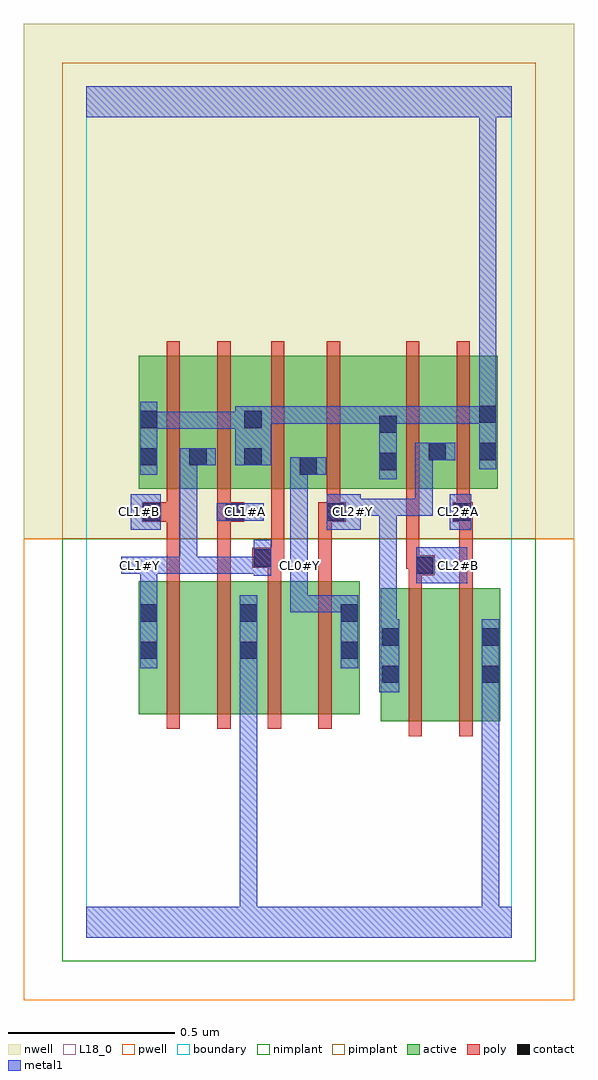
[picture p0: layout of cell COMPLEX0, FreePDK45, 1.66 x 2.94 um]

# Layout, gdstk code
import gdstk
lib = gdstk.Library(unit=1e-6, precision=1e-09)
def R(c, l, rs):  # rectangles x0, y0, x1, y1
    for r in rs: c.add(gdstk.rectangle(r[:2], r[2:], *l))
def A(c, l, x, y, w, h, nx, ny, dx, dy):  # array of equal rectangles
    R(c, l, [(x+i*dx, y+j*dy, x+i*dx+w, y+j*dy+h) for i in range(nx) for j in range(ny)])
active = (1, 0)
pwell = (2, 0)
nwell = (3, 0)
nimplant = (4, 0)
pimplant = (5, 0)
poly = (9, 0)
contact = (10, 0)
metal1 = (11, 0)
L18_0 = (18, 0)
boundary = (235, 0)

complex0 = lib.new_cell('COMPLEX0')
R(complex0, active, [(0.886,0.65,1.066,1.05), (1.066,0.65,1.246,1.05), (1.186,0.65,1.246,1.05), (0.158,0.672,0.338,1.072), (0.338,0.672,0.518,1.072), (0.458,0.672,0.642,1.072), (0.642,0.672,0.822,1.072), (0.158,0.756,0.218,1.072), (0.458,0.756,0.518,1.006), (0.762,0.756,0.822,1.072), (0.886,0.756,0.946,1.05), (0.158,1.35,0.218,1.644), (0.158,1.35,0.366,1.75), (0.306,1.35,0.532,1.75), (0.472,1.35,0.698,1.75), (0.638,1.35,0.938,1.75), (0.878,1.35,0.938,1.75), (0.878,1.35,1.086,1.75), (1.026,1.35,1.238,1.75), (1.178,1.35,1.238,1.75), (0.638,1.388,0.698,1.644), (0.306,1.416,0.366,1.644), (0.472,1.416,0.532,1.644), (1.026,1.432,1.086,1.644)])
R(complex0, pwell, [(-0.188,-0.188,1.468,1.2)])
R(complex0, nwell, [(-0.188,1.2,1.468,2.748)])
R(complex0, nimplant, [(-0.072,-0.072,1.352,1.2)])
R(complex0, pimplant, [(-0.072,1.2,1.352,2.632)])
A(complex0, poly, 0.242, 0.628, 0.04, 0.488, 4, 1, 0.152, 0)
R(complex0, poly, [(0.97,0.606,1.01,1.094), (1.122,0.606,1.162,1.094), (0.97,1.054,1.01,1.13), (1.122,1.054,1.162,1.29), (0.242,1.076,0.282,1.29), (0.394,1.076,0.434,1.29), (0.546,1.076,0.586,1.152), (0.698,1.076,0.738,1.29), (0.97,1.09,1.048,1.15), (0.962,1.11,1.002,1.346), (0.962,1.11,1.01,1.15), (0.97,1.11,1.01,1.15), (0.5,1.112,0.586,1.172), (0.546,1.132,0.586,1.172), (0.546,1.132,0.596,1.172), (0.556,1.132,0.596,1.346), (0.168,1.25,0.282,1.31), (0.242,1.25,0.282,1.29), (0.242,1.25,0.282,1.29), (0.394,1.25,0.434,1.29), (0.394,1.25,0.434,1.29), (0.394,1.25,0.476,1.31), (0.698,1.25,0.78,1.31), (1.102,1.25,1.162,1.31), (1.122,1.25,1.162,1.29), (1.122,1.25,1.162,1.29), (0.242,1.27,0.282,1.346), (0.394,1.27,0.434,1.346), (0.724,1.27,0.764,1.346), (0.724,1.27,0.764,1.31), (0.724,1.27,0.764,1.31), (1.114,1.27,1.154,1.346), (0.242,1.306,0.282,1.794), (0.394,1.306,0.434,1.794), (0.556,1.306,0.596,1.794), (0.724,1.306,0.764,1.794), (0.962,1.306,1.002,1.794), (1.114,1.306,1.154,1.794)])
R(complex0, contact, [(0.89,0.766,0.942,0.818), (1.19,0.766,1.242,0.818), (0.162,0.838,0.214,0.89), (0.462,0.838,0.514,0.89), (0.766,0.838,0.818,0.89), (0.89,0.878,0.942,0.93), (1.19,0.878,1.242,0.93), (0.162,0.95,0.214,1.002), (0.462,0.95,0.514,1.002), (0.766,0.95,0.818,1.002), (0.992,1.094,1.044,1.146), (0.504,1.116,0.556,1.168), (0.172,1.254,0.224,1.306), (0.42,1.254,0.472,1.306), (0.724,1.254,0.776,1.306), (1.106,1.254,1.158,1.306), (0.642,1.392,0.694,1.444), (0.882,1.406,0.934,1.458), (0.162,1.42,0.214,1.472), (0.31,1.42,0.362,1.472), (0.476,1.42,0.528,1.472), (1.03,1.436,1.082,1.488), (1.182,1.436,1.234,1.488), (0.882,1.518,0.934,1.57), (0.162,1.532,0.214,1.584), (0.476,1.532,0.528,1.584), (1.182,1.548,1.234,1.6)])
R(complex0, metal1, [(0,0,1.28,0.092), (0.462,0.04,0.514,0.092), (0.462,0.04,0.514,0.092), (0.462,0.04,0.514,0.092), (0.462,0.04,0.514,0.092), (0.462,0.04,0.514,0.092), (0.462,0.04,0.514,0.092), (0.462,0.04,0.514,0.092), (0.462,0.04,0.514,0.092), (0.462,0.04,0.514,0.862), (1.19,0.04,1.242,0.79), (0.882,0.738,0.942,0.958), (1.19,0.738,1.242,0.79), (1.19,0.738,1.242,0.79), (1.19,0.738,1.242,0.79), (1.19,0.738,1.242,0.79), (1.19,0.738,1.242,0.79), (1.19,0.738,1.242,0.79), (1.19,0.738,1.242,0.79), (1.19,0.738,1.242,0.79), (1.19,0.738,1.242,0.79), (1.19,0.738,1.242,0.79), (1.19,0.738,1.242,0.79), (1.19,0.738,1.242,0.79), (1.19,0.738,1.242,0.958), (0.162,0.81,0.214,1.03), (0.462,0.81,0.514,0.862), (0.462,0.81,0.514,0.862), (0.462,0.81,0.514,0.862), (0.462,0.81,0.514,0.862), (0.462,0.81,0.514,1.03), (0.766,0.81,0.818,1.03), (0.882,0.906,0.934,1.32), (0.162,0.978,0.214,1.146), (0.614,0.978,0.666,1.03), (0.614,0.978,0.666,1.03), (0.614,0.978,0.666,1.03), (0.614,0.978,0.818,1.03), (0.614,0.978,0.666,1.118), (0.614,1.066,0.666,1.174), (0.992,1.066,1.146,1.174), (0.504,1.088,0.556,1.196), (0.106,1.094,0.214,1.146), (0.162,1.094,0.214,1.146), (0.162,1.094,0.214,1.146), (0.162,1.094,0.334,1.146), (0.282,1.094,0.334,1.146), (0.282,1.094,0.334,1.146), (0.282,1.094,0.334,1.146), (0.282,1.094,0.334,1.146), (0.282,1.094,0.334,1.146), (0.282,1.094,0.556,1.146), (0.282,1.094,0.334,1.472), (0.504,1.094,0.556,1.146), (0.504,1.094,0.556,1.146), (0.614,1.122,0.666,1.444), (0.134,1.226,0.224,1.334), (0.724,1.226,0.826,1.334), (1.094,1.226,1.158,1.334), (0.392,1.254,0.534,1.306), (0.774,1.268,0.826,1.32), (0.774,1.268,0.826,1.32), (0.774,1.268,0.934,1.32), (0.882,1.268,0.934,1.32), (0.882,1.268,0.934,1.32), (0.882,1.268,0.934,1.32), (0.882,1.268,0.936,1.32), (0.884,1.268,0.936,1.32), (0.884,1.268,1.042,1.32), (0.99,1.268,1.042,1.32), (0.99,1.268,1.042,1.488), (0.882,1.378,0.934,1.598), (0.162,1.392,0.214,1.612), (0.614,1.392,0.666,1.444), (0.614,1.392,0.666,1.444), (0.614,1.392,0.722,1.444), (1.182,1.408,1.234,1.628), (0.282,1.42,0.39,1.472), (0.448,1.42,0.556,1.598), (0.99,1.436,1.11,1.488), (0.162,1.53,0.214,1.582), (0.162,1.53,0.214,1.582), (0.162,1.53,0.39,1.582), (0.338,1.53,0.39,1.582), (0.338,1.53,0.39,1.582), (0.338,1.53,0.39,1.582), (0.338,1.53,0.5,1.582), (0.504,1.546,0.556,1.598), (0.504,1.546,0.556,1.598), (0.504,1.546,0.666,1.598), (0.614,1.546,0.666,1.598), (0.614,1.546,0.824,1.598), (0.772,1.546,0.824,1.598), (0.772,1.546,0.824,1.598), (0.772,1.546,0.824,1.598), (0.772,1.546,0.934,1.598), (0.882,1.546,1.036,1.598), (0.984,1.546,1.036,1.598), (0.984,1.546,1.044,1.598), (0.992,1.546,1.044,1.598), (0.992,1.546,1.234,1.598), (1.182,1.546,1.234,1.598), (1.182,1.546,1.234,1.598), (1.182,1.576,1.234,1.628), (1.182,1.576,1.234,1.628), (1.182,1.576,1.234,1.628), (1.182,1.576,1.234,1.628), (1.182,1.576,1.234,2.52), (0,2.468,1.28,2.56), (1.182,2.468,1.234,2.52), (1.182,2.468,1.234,2.52), (1.182,2.468,1.234,2.52), (1.182,2.468,1.234,2.52), (1.182,2.468,1.234,2.52), (1.182,2.468,1.234,2.52), (1.182,2.468,1.234,2.52), (1.182,2.468,1.234,2.52), (1.182,2.468,1.234,2.52), (1.182,2.468,1.234,2.52), (1.182,2.468,1.234,2.52), (1.182,2.468,1.234,2.52)])
A(complex0, L18_0, 0.134, 1.254, 0.052, 0.052, 4, 1, 0.32, 0)
R(complex0, L18_0, [(0,0,1.28,0.092), (0.462,0.04,0.514,0.092), (0.462,0.04,0.514,0.092), (0.462,0.04,0.514,0.092), (0.462,0.04,0.514,0.092), (0.462,0.04,0.514,0.092), (0.462,0.04,0.514,0.092), (0.462,0.04,0.514,0.092), (0.462,0.04,0.514,0.092), (0.462,0.04,0.514,0.862), (1.19,0.04,1.242,0.79), (0.882,0.738,0.942,0.958), (1.19,0.738,1.242,0.958), (1.19,0.738,1.242,0.79), (1.19,0.738,1.242,0.79), (1.19,0.738,1.242,0.79), (1.19,0.738,1.242,0.79), (1.19,0.738,1.242,0.79), (1.19,0.738,1.242,0.79), (1.19,0.738,1.242,0.79), (1.19,0.738,1.242,0.79), (1.19,0.738,1.242,0.79), (1.19,0.738,1.242,0.79), (1.19,0.738,1.242,0.79), (1.19,0.738,1.242,0.79), (0.162,0.81,0.214,1.03), (0.462,0.81,0.514,1.03), (0.462,0.81,0.514,0.862), (0.462,0.81,0.514,0.862), (0.462,0.81,0.514,0.862), (0.462,0.81,0.514,0.862), (0.766,0.81,0.818,1.03), (0.882,0.906,0.934,1.32), (0.162,0.978,0.214,1.146), (0.614,0.978,0.666,1.03), (0.614,0.978,0.666,1.03), (0.614,0.978,0.666,1.03), (0.614,0.978,0.666,1.118), (0.614,0.978,0.818,1.03), (0.614,1.066,0.666,1.174), (0.992,1.066,1.146,1.174), (0.504,1.088,0.556,1.196), (0.106,1.094,0.214,1.146), (0.134,1.094,0.186,1.146), (0.162,1.094,0.214,1.146), (0.162,1.094,0.214,1.146), (0.162,1.094,0.334,1.146), (0.282,1.094,0.334,1.146), (0.282,1.094,0.334,1.146), (0.282,1.094,0.334,1.146), (0.282,1.094,0.334,1.146), (0.282,1.094,0.334,1.146), (0.282,1.094,0.334,1.472), (0.282,1.094,0.556,1.146), (0.504,1.094,0.556,1.146), (0.504,1.094,0.556,1.146), (0.614,1.094,0.666,1.146), (1.094,1.094,1.146,1.146), (0.614,1.122,0.666,1.444), (0.134,1.226,0.224,1.334), (0.724,1.226,0.826,1.334), (1.094,1.226,1.158,1.334), (0.392,1.254,0.534,1.306), (0.774,1.268,0.826,1.32), (0.774,1.268,0.826,1.32), (0.774,1.268,0.934,1.32), (0.882,1.268,0.934,1.32), (0.882,1.268,0.934,1.32), (0.882,1.268,0.934,1.32), (0.882,1.268,0.936,1.32), (0.884,1.268,0.936,1.32), (0.884,1.268,1.042,1.32), (0.99,1.268,1.042,1.488), (0.99,1.268,1.042,1.32), (0.882,1.378,0.934,1.598), (0.162,1.392,0.214,1.612), (0.614,1.392,0.722,1.444), (0.614,1.392,0.666,1.444), (0.614,1.392,0.666,1.444), (1.182,1.408,1.234,1.628), (0.282,1.42,0.39,1.472), (0.448,1.42,0.556,1.598), (0.99,1.436,1.11,1.488), (0.162,1.53,0.214,1.582), (0.162,1.53,0.214,1.582), (0.162,1.53,0.39,1.582), (0.338,1.53,0.39,1.582), (0.338,1.53,0.39,1.582), (0.338,1.53,0.39,1.582), (0.338,1.53,0.5,1.582), (0.504,1.546,0.556,1.598), (0.504,1.546,0.556,1.598), (0.504,1.546,0.666,1.598), (0.614,1.546,0.666,1.598), (0.614,1.546,0.824,1.598), (0.772,1.546,0.824,1.598), (0.772,1.546,0.824,1.598), (0.772,1.546,0.824,1.598), (0.772,1.546,0.934,1.598), (0.882,1.546,1.036,1.598), (0.984,1.546,1.036,1.598), (0.984,1.546,1.044,1.598), (0.992,1.546,1.044,1.598), (0.992,1.546,1.234,1.598), (1.182,1.546,1.234,1.598), (1.182,1.546,1.234,1.598), (1.182,1.576,1.234,1.628), (1.182,1.576,1.234,1.628), (1.182,1.576,1.234,1.628), (1.182,1.576,1.234,1.628), (1.182,1.576,1.234,2.52), (0,2.468,1.28,2.56), (1.182,2.468,1.234,2.52), (1.182,2.468,1.234,2.52), (1.182,2.468,1.234,2.52), (1.182,2.468,1.234,2.52), (1.182,2.468,1.234,2.52), (1.182,2.468,1.234,2.52), (1.182,2.468,1.234,2.52), (1.182,2.468,1.234,2.52), (1.182,2.468,1.234,2.52), (1.182,2.468,1.234,2.52), (1.182,2.468,1.234,2.52), (1.182,2.468,1.234,2.52)])
R(complex0, boundary, [(0,0,1.28,2.56)])
complex0.add(gdstk.Label('CL0#Y', (0.64,1.12), layer=11, texttype=0))
complex0.add(gdstk.Label('CL1#A', (0.48,1.28), layer=11, texttype=0))
complex0.add(gdstk.Label('CL1#B', (0.16,1.28), layer=11, texttype=0))
complex0.add(gdstk.Label('CL1#Y', (0.16,1.12), layer=11, texttype=0))
complex0.add(gdstk.Label('CL2#A', (1.12,1.28), layer=11, texttype=0))
complex0.add(gdstk.Label('CL2#B', (1.12,1.12), layer=11, texttype=0))
complex0.add(gdstk.Label('CL2#Y', (0.8,1.28), layer=11, texttype=0))

lib.write_gds('COMPLEX0.gds')
